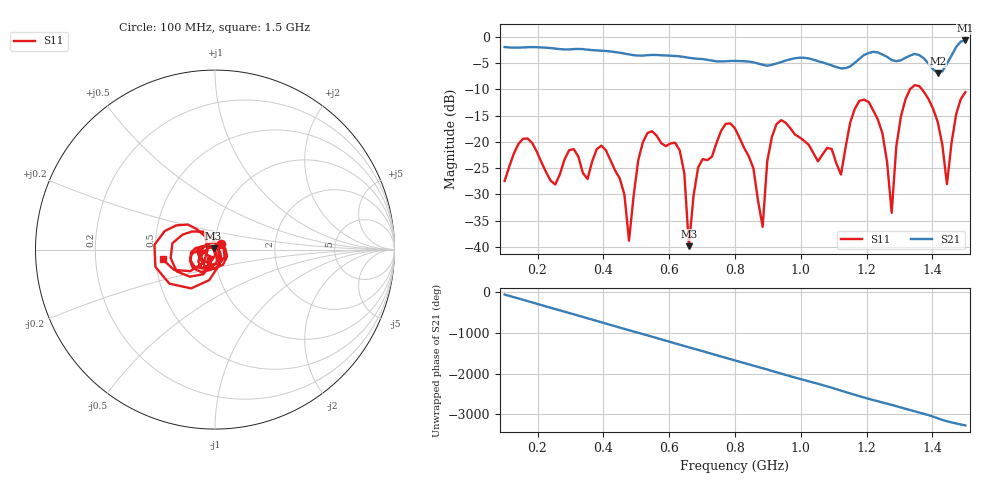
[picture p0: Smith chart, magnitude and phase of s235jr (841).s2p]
! NanoVNA-App
! Date: 2025-09-25 15:10:43
! Start: 100MHz Stop: 1,5GHz Points: 101
! S-Parameter data: F S11 S21 S12 S22
# Hz S RI R 50
!  Frequency  S11_Real  S11_Imag  S21_Real  S21_Imag  S12_Real  S12_Imag  S22_Real  S22_Imag
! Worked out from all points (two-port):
!   101 points, 100 MHz to 1.5 GHz, reference 50 ohm
!   highest |S21| = -0.71 dB at 1.5 GHz (marker M1); lowest = -6.9 dB at 1.416 GHz (marker M2)
!   |S21| within 3 dB of the highest: start of sweep to 626.9 MHz; 1.188 GHz to 1.258 GHz (70.67 MHz wide, 5.78 % of centre) (the widest 2 of 4)
!   lowest |S11| = -39.9 dB at 660 MHz (marker M3), VSWR 1.02, Z = 49.2 + j0.641 ohm
!   |S11| at or under -10 dB: start of sweep to 1.332 GHz; 1.368 GHz to end of sweep
!   S12 and S22 are empty: the file has one direction only
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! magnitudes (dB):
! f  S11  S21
! 100 MHz  -27.5  -2.0
! 156 MHz  -19.4  -2.0
! 338 MHz  -26.0  -2.4
! 408 MHz  -21.6  -2.7
! 478 MHz  -38.8  -3.4
! 520 MHz  -20.1  -3.6
! 576 MHz  -20.3  -3.5
! 632 MHz  -21.6  -3.7
! 660 MHz  -39.9  -4.0
! 688 MHz  -24.9  -4.2
! 800 MHz  -17.5  -4.6
! 884 MHz  -36.2  -5.3
! 926 MHz  -16.7  -5.1
! 1.038 GHz  -22.1  -4.4
! 1.122 GHz  -26.2  -6.0
! 1.206 GHz  -12.4  -3.1
! 1.276 GHz  -33.5  -4.4
! 1.29 GHz  -21.0  -4.6
! 1.332 GHz  -10.0  -3.6
! 1.416 GHz  -16.2  -6.9
! 1.444 GHz  -28.1  -5.1
! 1.5 GHz  -10.6  -0.7
